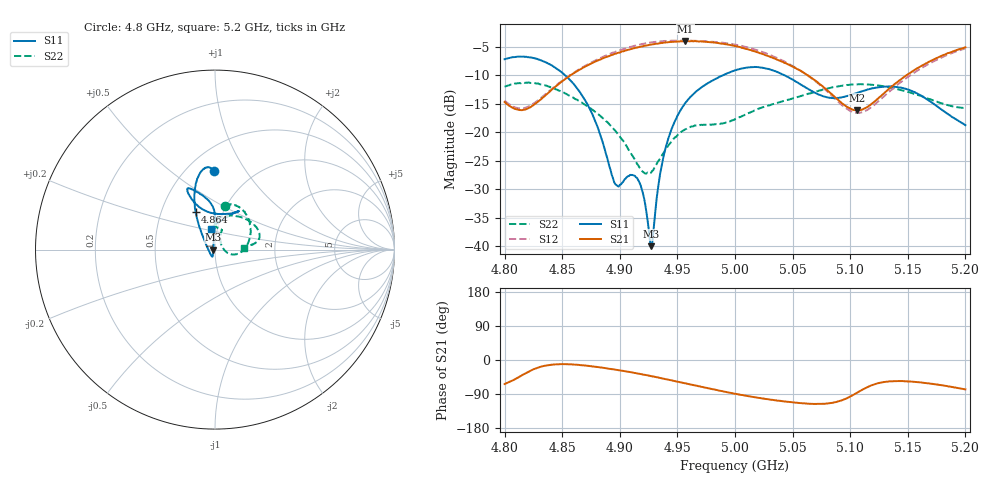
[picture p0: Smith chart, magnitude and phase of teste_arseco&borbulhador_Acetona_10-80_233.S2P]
! Network Analyzer HP8722D
! Hewlett-Packard
! Data name: Linha & Wilkinson
! Saver's name: Rodrigo Anjos
! Comments: Teste da utilização de aquisição
! continua pelo VNA HP8722D
! Time and date: 25/4/2025 17:12
!  Frequency  S11  S21  S12  S22
# HZ  S  MA R 50
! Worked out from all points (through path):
!   401 points, 4.8 GHz to 5.2 GHz, reference 50 ohm
!   highest |S21| = -4.01 dB at 4.957 GHz (marker M1); lowest = -16.2 dB at 5.106 GHz (marker M2)
!   lowest |S11| = -39.9 dB at 4.927 GHz (marker M3), VSWR 1.02, Z = 49 - j0.0684 ohm
!   |S11| at or under -10 dB: 4.853 GHz to 4.989 GHz (136.9 MHz wide, 2.78 % of centre); 5.043 GHz to end of sweep
!   |S22| runs from -27.2 to -11.3 dB; largest |S21 - S12| = 1.2
!   S11 on the Smith chart (normalised r, x): 4.8 GHz: 0.67, +0.72; 4.864 GHz: 0.74, +0.33; 5.2 GHz: 0.93, +0.21
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4.8e9  0.4369 90.9  0.1843 -63.4  0.189 70.1  0.251 77.0
4.82e9  0.4555 97.3  0.1616 -31.9  0.1669 98.9  0.2721 61.2
4.843e9  0.3745 106.7  0.2462 -11.8  0.2495 118.9  0.2421 36.5
4.864e9  0.2355 117.3  0.3494 -12.9  0.3527 120.9  0.1895 12.0
4.867e9  0.2124 119.0  0.363 -13.9  0.3678 120.6  0.1824 8.8
4.88e9  0.1161 129.4  0.4223 -18.4  0.4333 118.3  0.1477 -5.1
4.896e9  0.03517 -172.2  0.4874 -25.5  0.5056 113.1  0.1035 -15.3
4.911e9  0.04233 -111.1  0.5422 -33.0  0.5659 106.8  0.06233 -10.7
4.917e9  0.03641 -109.5  0.5596 -36.4  0.5863 103.4  0.04933 1.5
4.921e9  0.02666 -116.8  0.5728 -38.8  0.5976 101.2  0.0443 13.9
4.927e9  0.01006 -176.0  0.5864 -42.5  0.6133 97.4  0.04416 38.2
4.929e9  0.01311 138.2  0.5909 -43.6  0.6166 96.4  0.0466 44.9
4.934e9  0.03677 102.1  0.6017 -46.9  0.6259 93.0  0.05693 57.5
4.943e9  0.09409 92.2  0.6175 -52.5  0.6337 87.2  0.07869 67.9
4.957e9  0.1815 90.0  0.6306 -61.6  0.6365 78.3  0.1065 70.3
5e9  0.3491 109.2  0.5701 -88.9  0.5892 50.7  0.1305 87.7
5.03e9  0.3568 115.3  0.4615 -104.3  0.4778 33.7  0.1724 85.0
5.067e9  0.2292 105.8  0.2977 -115.9  0.2951 23.6  0.222 56.8
5.106e9  0.221 65.6  0.1556 -86.3  0.1479 56.7  0.263 24.6
5.134e9  0.2525 58.3  0.2417 -56.4  0.2274 88.8  0.2477 12.3
5.169e9  0.1883 71.2  0.4182 -62.1  0.4015 84.8  0.1956 6.9
5.2e9  0.1155 101.4  0.5555 -77.6  0.5435 70.0  0.1628 3.5
